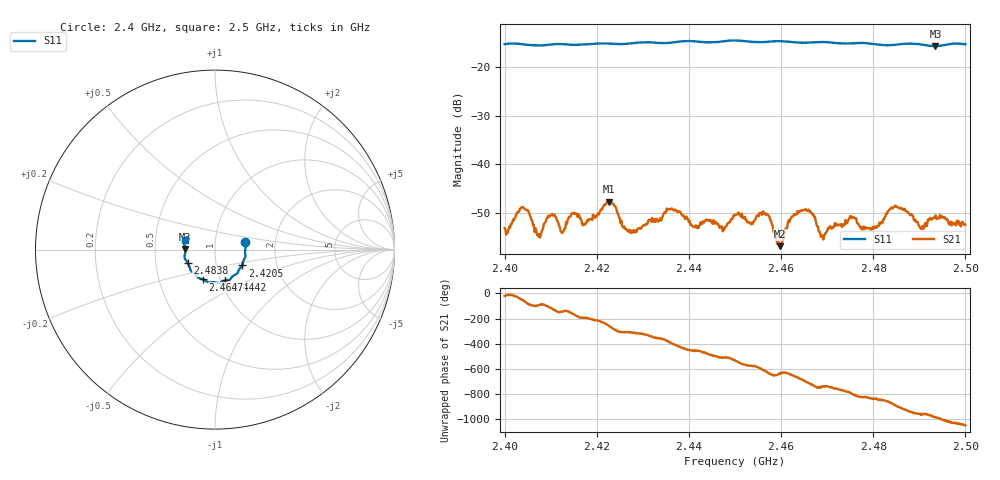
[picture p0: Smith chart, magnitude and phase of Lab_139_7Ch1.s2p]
# Hz S RI R 50
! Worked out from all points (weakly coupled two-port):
!   601 points, 2.4 GHz to 2.5 GHz, reference 50 ohm
!   highest |S21| = -47.64 dB at 2.4227 GHz (marker M1); lowest = -56.8 dB at 2.4597 GHz (marker M2)
!   lowest |S11| = -15.6 dB at 2.4935 GHz (marker M3), VSWR 1.40, Z = 35.8 + j0.129 ohm
!   |S11| at or under -10 dB: start of sweep to end of sweep
!   S12 and S22 are empty: the file has one direction only
!   S11 on the Smith chart (normalised r, x): 2.4 GHz: 1.40, +0.11; 2.4205 GHz: 1.33, -0.24; 2.4442 GHz: 1.05, -0.37; 2.4647 GHz: 0.83, -0.29; 2.4838 GHz: 0.73, -0.11; 2.5 GHz: 0.71, +0.08
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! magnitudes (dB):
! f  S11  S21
! 2.4 GHz  -15.2  -53.1
! 2.4038 GHz  -15.2  -48.8
! 2.4075 GHz  -15.5  -54.3
! 2.41 GHz  -15.3  -50.5
! 2.4125 GHz  -15.2  -54.1
! 2.4167 GHz  -15.3  -51.5
! 2.4205 GHz  -15.1  -50.3
! 2.4227 GHz  -15.1  -47.6
! 2.4272 GHz  -15.1  -53.8
! 2.4333 GHz  -15.0  -51.8
! 2.4442 GHz  -14.9  -51.5
! 2.45 GHz  -14.5  -50.4
! 2.4567 GHz  -14.8  -50.4
! 2.4597 GHz  -14.6  -56.8
! 2.4647 GHz  -14.9  -49.5
! 2.4667 GHz  -14.9  -50.1
! 2.469 GHz  -14.8  -54.6
! 2.4833 GHz  -15.4  -49.6
! 2.4838 GHz  -15.4  -49.1
! 2.4905 GHz  -15.3  -53.1
! 2.4935 GHz  -15.6  -50.5
! 2.5 GHz  -15.2  -52.4
